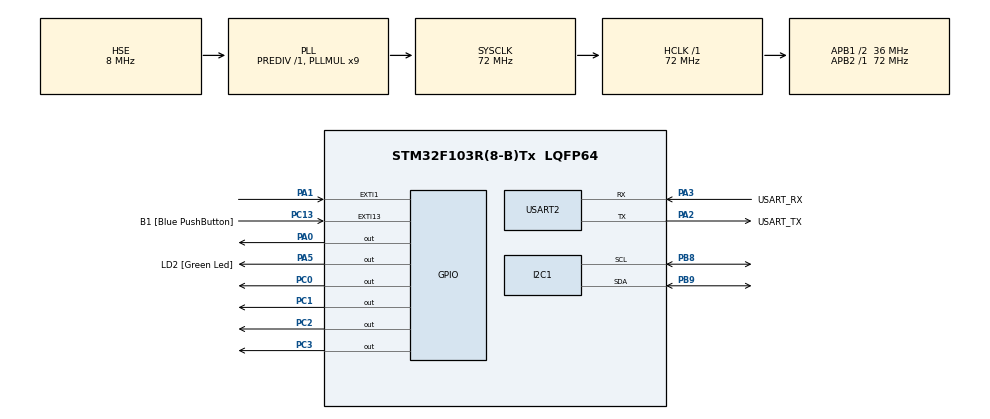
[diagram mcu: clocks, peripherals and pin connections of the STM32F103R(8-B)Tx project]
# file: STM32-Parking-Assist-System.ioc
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Mcu.Family=STM32F1
Mcu.Name=STM32F103R(8-B)Tx
Mcu.Package=LQFP64
NVIC.EXTI15_10_IRQn=true\:0\:0\:false\:false\:true\:true\:true\:true
NVIC.EXTI1_IRQn=true\:0\:0\:false\:false\:true\:true\:true\:true
NVIC.PriorityGroup=NVIC_PRIORITYGROUP_4
PA0-WKUP.Signal=GPIO_Output
PA1.GPIO_ModeDefaultEXTI=GPIO_MODE_IT_RISING_FALLING
PA1.Signal=GPXTI1
PA13.GPIO_Label=TMS
PA13.Mode=Serial_Wire
PA13.Signal=SYS_JTMS-SWDIO
PA14.GPIO_Label=TCK
PA14.Mode=Serial_Wire
PA14.Signal=SYS_JTCK-SWCLK
PA2.GPIO_Label=USART_TX
PA2.GPIO_Mode=GPIO_MODE_AF_PP
PA2.GPIO_PuPd=GPIO_NOPULL
PA2.GPIO_Speed=GPIO_SPEED_FREQ_LOW
PA2.Mode=Asynchronous
PA2.Signal=USART2_TX
PA3.GPIO_Label=USART_RX
PA3.GPIO_Mode=GPIO_MODE_AF_PP
PA3.GPIO_PuPd=GPIO_NOPULL
PA3.GPIO_Speed=GPIO_SPEED_FREQ_LOW
PA3.Mode=Asynchronous
PA3.Signal=USART2_RX
PA5.GPIO_Label=LD2 [Green Led]
PA5.GPIO_ModeDefaultOutputPP=GPIO_MODE_OUTPUT_PP
PA5.GPIO_PuPd=GPIO_NOPULL
PA5.GPIO_Speed=GPIO_SPEED_FREQ_LOW
PA5.Signal=GPIO_Output
PB3.GPIO_Label=SWO
PB3.Signal=SYS_JTDO-TRACESWO
PB8.Mode=I2C
PB8.Signal=I2C1_SCL
PB9.Mode=I2C
PB9.Signal=I2C1_SDA
PC0.Signal=GPIO_Output
PC1.Signal=GPIO_Output
PC13-TAMPER-RTC.GPIO_Label=B1 [Blue PushButton]
PC13-TAMPER-RTC.GPIO_PuPd=GPIO_NOPULL
PC13-TAMPER-RTC.Signal=GPXTI13
PC14-OSC32_IN.Signal=RCC_OSC32_IN
PC15-OSC32_OUT.Signal=RCC_OSC32_OUT
PC2.Signal=GPIO_Output
PC3.Signal=GPIO_Output
PD0-OSC_IN.Mode=HSE-External-Oscillator
PD0-OSC_IN.Signal=RCC_OSC_IN
PD1-OSC_OUT.Mode=HSE-External-Oscillator
PD1-OSC_OUT.Signal=RCC_OSC_OUT
ProjectManager.HeapSize=0x200
ProjectManager.StackSize=0x400
ProjectManager.TargetToolchain=STM32CubeIDE
RCC.AHBFreq_Value=72000000
RCC.APB1CLKDivider=RCC_HCLK_DIV2
RCC.APB1Freq_Value=36000000
RCC.APB1TimFreq_Value=72000000
RCC.APB2Freq_Value=72000000
RCC.APB2TimFreq_Value=72000000
RCC.HCLKFreq_Value=72000000
RCC.PLLMUL=RCC_PLL_MUL9
RCC.PLLSourceVirtual=RCC_PLLSOURCE_HSE
RCC.RTCClockSelection=RCC_RTCCLKSOURCE_LSE
RCC.SYSCLKFreq_VALUE=72000000
RCC.SYSCLKSource=RCC_SYSCLKSOURCE_PLLCLK
RCC.USBFreq_Value=72000000
TIM2.Prescaler=71
USART2.VirtualMode=VM_ASYNC
VP_TIM2_VS_ClockSourceINT.Mode=Internal
board=NUCLEO-F103RB

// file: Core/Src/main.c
/* USER CODE BEGIN Header */
/**
  ******************************************************************************
  * @file           : main.c
  * @brief          : Main program body
  ******************************************************************************
  * @attention
  *
  * Copyright (c) 2026 STMicroelectronics.
  * All rights reserved.
  *
  * This software is licensed under terms that can be found in the LICENSE file
  * in the root directory of this software component.
  * If no LICENSE file comes with this software, it is provided AS-IS.
  *
  ******************************************************************************
  */
/* USER CODE END Header */
#include "main.h"
#include "i2c.h"
#include "tim.h"
#include "usart.h"
#include "gpio.h"
#include <stdio.h>
#include <string.h>

/* USER CODE BEGIN Includes */
#include "ultrasonic.h"
#include "delay.h"
#include "parking.h"
#include "led.h"
#include "buzzer.h"
#include "ssd1306.h"
#include "ssd1306_fonts.h"
#include "oled_display.h"
/* USER CODE END Includes */

/* USER CODE BEGIN PV */
int distance;
char txBuffer[50];
/* USER CODE END PV */

void SystemClock_Config(void);

int main(void)
{

  /* MCU Configuration--------------------------------------------------------*/

  /* Reset of all peripherals, Initializes the Flash interface and the Systick. */
  HAL_Init();

  /* Configure the system clock */
  SystemClock_Config();

  /* Initialize all configured peripherals */
  MX_GPIO_Init();
  MX_I2C1_Init();
  MX_TIM2_Init();
  MX_USART2_UART_Init();
  DWT_Init();
  /* USER CODE BEGIN 2 */
  HAL_TIM_Base_Start(&htim2);
  Ultrasonic_Init();
  ssd1306_Init();
  ssd1306_Fill(Black);
  ssd1306_UpdateScreen();
  /* USER CODE END 2 */

  /* Infinite loop */
  /* USER CODE BEGIN WHILE */
  while (1)
  {
	  char *stateStr = "UNKNOWN";

	  Ultrasonic_Trigger();

	  HAL_Delay(60);

	  distance = Ultrasonic_GetDistance();

	  if(distance >= 0)
	  {
	  Parking_Update(distance);

	  ParkingState state = Parking_GetState();

	   LED_Update(state);
	   Buzzer_Update(state);
	   OLED_Update(distance, state);

	  if(state == PARKING_SAFE)
	  {
		  stateStr = "SAFE";
	  }
	  else if(state == PARKING_CAUTION)
	  {
		  stateStr = "CAUTION";
	  }
	  else
	  {
		  stateStr = "DANGER";
	  }
	      sprintf(txBuffer, "Distance : %d cm\r\nState = %s\r\n\r\n", distance, stateStr);
	      HAL_UART_Transmit(&huart2, (uint8_t*)txBuffer, strlen(txBuffer), 100);
	  }
	      HAL_Delay(300);

  }
  /* USER CODE END 3 */
}

void SystemClock_Config(void)
{
  RCC_OscInitTypeDef RCC_OscInitStruct = {0};
  RCC_ClkInitTypeDef RCC_ClkInitStruct = {0};

  /** Initializes the RCC Oscillators according to the specified parameters
  * in the RCC_OscInitTypeDef structure.
  */
  RCC_OscInitStruct.OscillatorType = RCC_OSCILLATORTYPE_HSE;
  RCC_OscInitStruct.HSEState = RCC_HSE_ON;
  RCC_OscInitStruct.HSEPredivValue = RCC_HSE_PREDIV_DIV1;
  RCC_OscInitStruct.HSIState = RCC_HSI_ON;
  RCC_OscInitStruct.PLL.PLLState = RCC_PLL_ON;
  RCC_OscInitStruct.PLL.PLLSource = RCC_PLLSOURCE_HSE;
  RCC_OscInitStruct.PLL.PLLMUL = RCC_PLL_MUL9;
  if (HAL_RCC_OscConfig(&RCC_OscInitStruct) != HAL_OK)
  {
    Error_Handler();
  }

  /** Initializes the CPU, AHB and APB buses clocks
  */
  RCC_ClkInitStruct.ClockType = RCC_CLOCKTYPE_HCLK|RCC_CLOCKTYPE_SYSCLK
                              |RCC_CLOCKTYPE_PCLK1|RCC_CLOCKTYPE_PCLK2;
  RCC_ClkInitStruct.SYSCLKSource = RCC_SYSCLKSOURCE_PLLCLK;
  RCC_ClkInitStruct.AHBCLKDivider = RCC_SYSCLK_DIV1;
  RCC_ClkInitStruct.APB1CLKDivider = RCC_HCLK_DIV2;
  RCC_ClkInitStruct.APB2CLKDivider = RCC_HCLK_DIV1;

  if (HAL_RCC_ClockConfig(&RCC_ClkInitStruct, FLASH_LATENCY_2) != HAL_OK)
  {
    Error_Handler();
  }
}

void Error_Handler(void)
{
  __disable_irq();
  while (1)
  {
  }
}
